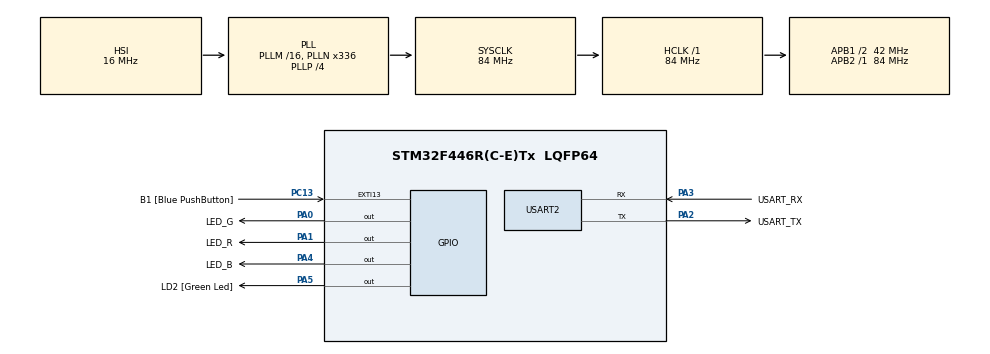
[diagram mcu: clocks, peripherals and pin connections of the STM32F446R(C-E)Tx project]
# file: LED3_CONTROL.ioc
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Mcu.Family=STM32F4
Mcu.Name=STM32F446R(C-E)Tx
Mcu.Package=LQFP64
NVIC.PriorityGroup=NVIC_PRIORITYGROUP_0
PA0-WKUP.GPIO_Label=LED_G
PA0-WKUP.Signal=GPIO_Output
PA1.GPIO_Label=LED_R
PA1.Signal=GPIO_Output
PA13.GPIO_Label=TMS
PA13.Mode=Serial_Wire
PA13.Signal=SYS_JTMS-SWDIO
PA14.GPIO_Label=TCK
PA14.Mode=Serial_Wire
PA14.Signal=SYS_JTCK-SWCLK
PA2.GPIO_Label=USART_TX
PA2.Mode=Asynchronous
PA2.Signal=USART2_TX
PA3.GPIO_Label=USART_RX
PA3.Mode=Asynchronous
PA3.Signal=USART2_RX
PA4.GPIO_Label=LED_B
PA4.Signal=GPIO_Output
PA5.GPIO_Label=LD2 [Green Led]
PA5.Signal=GPIO_Output
PB3.GPIO_Label=SWO
PB3.Signal=SYS_JTDO-SWO
PC13.GPIO_Label=B1 [Blue PushButton]
PC13.GPIO_ModeDefaultEXTI=GPIO_MODE_IT_FALLING
PC13.Signal=GPXTI13
PC14-OSC32_IN.Signal=RCC_OSC32_IN
PC15-OSC32_OUT.Signal=RCC_OSC32_OUT
PH0-OSC_IN.Signal=RCC_OSC_IN
PH1-OSC_OUT.Signal=RCC_OSC_OUT
ProjectManager.HeapSize=0x200
ProjectManager.StackSize=0x400
ProjectManager.TargetToolchain=STM32CubeIDE
RCC.48MHZClocksFreq_Value=84000000
RCC.AHBFreq_Value=84000000
RCC.APB1CLKDivider=RCC_HCLK_DIV2
RCC.APB1Freq_Value=42000000
RCC.APB1TimFreq_Value=84000000
RCC.APB2Freq_Value=84000000
RCC.APB2TimFreq_Value=84000000
RCC.CortexFreq_Value=84000000
RCC.FLatency-AdvancedSettings=FLASH_LATENCY_2
RCC.HCLKFreq_Value=84000000
RCC.HSE_VALUE=8000000
RCC.HSI_VALUE=16000000
RCC.PLLN=336
RCC.PLLP=RCC_PLLP_DIV4
RCC.SYSCLKFreq_VALUE=84000000
RCC.SYSCLKSource=RCC_SYSCLKSOURCE_PLLCLK
RCC.USBFreq_Value=168000000
RCC.VCOOutputFreq_Value=336000000
USART2.VirtualMode=VM_ASYNC
board=NUCLEO-F446RE

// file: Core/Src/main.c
/* USER CODE BEGIN Header */
/**
  ******************************************************************************
  * @file           : main.c
  * @brief          : Main program body
  ******************************************************************************
  * @attention
  *
  * Copyright (c) 2026 STMicroelectronics.
  * All rights reserved.
  *
  * This software is licensed under terms that can be found in the LICENSE file
  * in the root directory of this software component.
  * If no LICENSE file comes with this software, it is provided AS-IS.
  *
  ******************************************************************************
  */
/* USER CODE END Header */
#include "main.h"

UART_HandleTypeDef huart2;

void SystemClock_Config(void);
static void MX_GPIO_Init(void);
static void MX_USART2_UART_Init(void);

int main(void)
{

  /* MCU Configuration--------------------------------------------------------*/

  /* Reset of all peripherals, Initializes the Flash interface and the Systick. */
  HAL_Init();

  /* Configure the system clock */
  SystemClock_Config();

  /* Initialize all configured peripherals */
  MX_GPIO_Init();
  MX_USART2_UART_Init();

  /* Infinite loop */
  /* USER CODE BEGIN WHILE */
  while (1)
  {
	  HAL_GPIO_WritePin(LED_G_GPIO_Port, LED_G_Pin,1);
	  	  HAL_GPIO_WritePin(LED_R_GPIO_Port, LED_R_Pin,0);
	  	  HAL_GPIO_WritePin(LED_B_GPIO_Port, LED_B_Pin,0);
	  	  HAL_Delay(1000);
	  	  HAL_GPIO_WritePin(LED_G_GPIO_Port, LED_G_Pin,0);
	  	  HAL_GPIO_WritePin(LED_R_GPIO_Port, LED_R_Pin,1);
	  	  HAL_GPIO_WritePin(LED_B_GPIO_Port, LED_B_Pin,0);
	  	  HAL_Delay(1000);
	  	  HAL_GPIO_WritePin(LED_G_GPIO_Port, LED_G_Pin,0);
	  	  HAL_GPIO_WritePin(LED_R_GPIO_Port, LED_R_Pin,0);
	  	  HAL_GPIO_WritePin(LED_B_GPIO_Port, LED_B_Pin,1);
	  	  HAL_Delay(1000);

	  	HAL_GPIO_WritePin(LED_G_GPIO_Port, LED_G_Pin,1);
	  		  	  HAL_GPIO_WritePin(LED_R_GPIO_Port, LED_R_Pin,1);
	  		  	  HAL_GPIO_WritePin(LED_B_GPIO_Port, LED_B_Pin,0);
	  		  	  HAL_Delay(1000);
	  		  	  HAL_GPIO_WritePin(LED_G_GPIO_Port, LED_G_Pin,1);
	  		  	  HAL_GPIO_WritePin(LED_R_GPIO_Port, LED_R_Pin,0);
	  		  	  HAL_GPIO_WritePin(LED_B_GPIO_Port, LED_B_Pin,1);
	  		  	  HAL_Delay(1000);
	  		  	  HAL_GPIO_WritePin(LED_G_GPIO_Port, LED_G_Pin,0);
	  		  	  HAL_GPIO_WritePin(LED_R_GPIO_Port, LED_R_Pin,1);
	  		  	  HAL_GPIO_WritePin(LED_B_GPIO_Port, LED_B_Pin,1);
	  		  	  HAL_Delay(1000);
	  		  	 HAL_GPIO_WritePin(LED_G_GPIO_Port, LED_G_Pin,1);
	  		  		  		  	  HAL_GPIO_WritePin(LED_R_GPIO_Port, LED_R_Pin,1);
	  		  		  		  	  HAL_GPIO_WritePin(LED_B_GPIO_Port, LED_B_Pin,1);
	  		  		  		  	  HAL_Delay(1000);

    /* USER CODE END WHILE */

  }
}

void SystemClock_Config(void)
{
  RCC_OscInitTypeDef RCC_OscInitStruct = {0};
  RCC_ClkInitTypeDef RCC_ClkInitStruct = {0};

  /** Configure the main internal regulator output voltage
  */
  __HAL_RCC_PWR_CLK_ENABLE();
  __HAL_PWR_VOLTAGESCALING_CONFIG(PWR_REGULATOR_VOLTAGE_SCALE3);

  /** Initializes the RCC Oscillators according to the specified parameters
  * in the RCC_OscInitTypeDef structure.
  */
  RCC_OscInitStruct.OscillatorType = RCC_OSCILLATORTYPE_HSI;
  RCC_OscInitStruct.HSIState = RCC_HSI_ON;
  RCC_OscInitStruct.HSICalibrationValue = RCC_HSICALIBRATION_DEFAULT;
  RCC_OscInitStruct.PLL.PLLState = RCC_PLL_ON;
  RCC_OscInitStruct.PLL.PLLSource = RCC_PLLSOURCE_HSI;
  RCC_OscInitStruct.PLL.PLLM = 16;
  RCC_OscInitStruct.PLL.PLLN = 336;
  RCC_OscInitStruct.PLL.PLLP = RCC_PLLP_DIV4;
  RCC_OscInitStruct.PLL.PLLQ = 2;
  RCC_OscInitStruct.PLL.PLLR = 2;
  if (HAL_RCC_OscConfig(&RCC_OscInitStruct) != HAL_OK)
  {
    Error_Handler();
  }

  /** Initializes the CPU, AHB and APB buses clocks
  */
  RCC_ClkInitStruct.ClockType = RCC_CLOCKTYPE_HCLK|RCC_CLOCKTYPE_SYSCLK
                              |RCC_CLOCKTYPE_PCLK1|RCC_CLOCKTYPE_PCLK2;
  RCC_ClkInitStruct.SYSCLKSource = RCC_SYSCLKSOURCE_PLLCLK;
  RCC_ClkInitStruct.AHBCLKDivider = RCC_SYSCLK_DIV1;
  RCC_ClkInitStruct.APB1CLKDivider = RCC_HCLK_DIV2;
  RCC_ClkInitStruct.APB2CLKDivider = RCC_HCLK_DIV1;

  if (HAL_RCC_ClockConfig(&RCC_ClkInitStruct, FLASH_LATENCY_2) != HAL_OK)
  {
    Error_Handler();
  }
}

static void MX_USART2_UART_Init(void)
{

  huart2.Instance = USART2;
  huart2.Init.BaudRate = 115200;
  huart2.Init.WordLength = UART_WORDLENGTH_8B;
  huart2.Init.StopBits = UART_STOPBITS_1;
  huart2.Init.Parity = UART_PARITY_NONE;
  huart2.Init.Mode = UART_MODE_TX_RX;
  huart2.Init.HwFlowCtl = UART_HWCONTROL_NONE;
  huart2.Init.OverSampling = UART_OVERSAMPLING_16;
  if (HAL_UART_Init(&huart2) != HAL_OK)
  {
    Error_Handler();
  }

}

static void MX_GPIO_Init(void)
{
  GPIO_InitTypeDef GPIO_InitStruct = {0};

  /* GPIO Ports Clock Enable */
  __HAL_RCC_GPIOC_CLK_ENABLE();
  __HAL_RCC_GPIOH_CLK_ENABLE();
  __HAL_RCC_GPIOA_CLK_ENABLE();
  __HAL_RCC_GPIOB_CLK_ENABLE();

  /*Configure GPIO pin Output Level */
  HAL_GPIO_WritePin(GPIOA, LED_G_Pin|LED_R_Pin|LED_B_Pin|LD2_Pin, GPIO_PIN_RESET);

  /*Configure GPIO pin : B1_Pin */
  GPIO_InitStruct.Pin = B1_Pin;
  GPIO_InitStruct.Mode = GPIO_MODE_IT_FALLING;
  GPIO_InitStruct.Pull = GPIO_NOPULL;
  HAL_GPIO_Init(B1_GPIO_Port, &GPIO_InitStruct);

  /*Configure GPIO pins : LED_G_Pin LED_R_Pin LED_B_Pin LD2_Pin */
  GPIO_InitStruct.Pin = LED_G_Pin|LED_R_Pin|LED_B_Pin|LD2_Pin;
  GPIO_InitStruct.Mode = GPIO_MODE_OUTPUT_PP;
  GPIO_InitStruct.Pull = GPIO_NOPULL;
  GPIO_InitStruct.Speed = GPIO_SPEED_FREQ_LOW;
  HAL_GPIO_Init(GPIOA, &GPIO_InitStruct);

}

void Error_Handler(void)
{
  __disable_irq();
  while (1)
  {
  }
}
